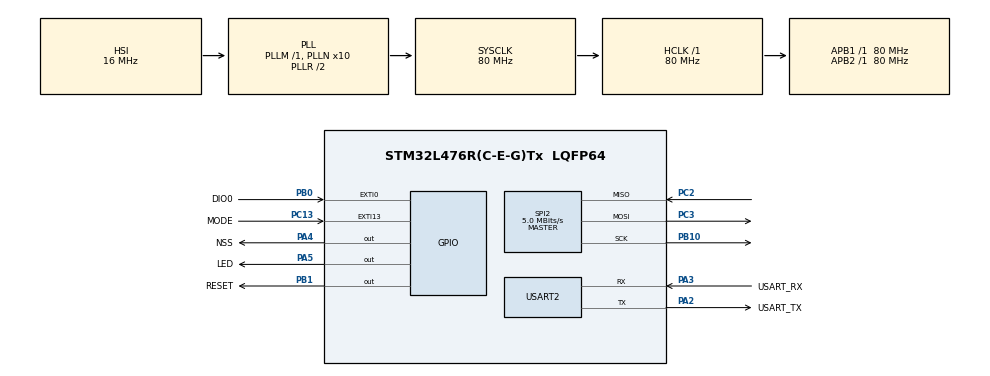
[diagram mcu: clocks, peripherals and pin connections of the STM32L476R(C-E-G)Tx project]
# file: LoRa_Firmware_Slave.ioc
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Mcu.Family=STM32L4
Mcu.Name=STM32L476R(C-E-G)Tx
Mcu.Package=LQFP64
NVIC.EXTI0_IRQn=true\:0\:0\:false\:false\:true\:true\:true
NVIC.EXTI15_10_IRQn=true\:0\:0\:false\:false\:true\:true\:true
NVIC.PriorityGroup=NVIC_PRIORITYGROUP_4
NVIC.RTC_WKUP_IRQn=true\:0\:0\:false\:false\:true\:true\:true
NVIC.TIM1_TRG_COM_TIM17_IRQn=true\:0\:0\:false\:false\:true\:true\:true
NVIC.TIM1_UP_TIM16_IRQn=true\:0\:0\:false\:false\:true\:true\:true
PA13\ (JTMS-SWDIO).GPIO_Label=TMS
PA13\ (JTMS-SWDIO).Mode=Trace_Asynchronous_SW
PA13\ (JTMS-SWDIO).Signal=SYS_JTMS-SWDIO
PA14\ (JTCK-SWCLK).GPIO_Label=TCK
PA14\ (JTCK-SWCLK).Mode=Trace_Asynchronous_SW
PA14\ (JTCK-SWCLK).Signal=SYS_JTCK-SWCLK
PA2.GPIO_Label=USART_TX
PA2.GPIO_Mode=GPIO_MODE_AF_PP
PA2.GPIO_PuPd=GPIO_NOPULL
PA2.GPIO_Speed=GPIO_SPEED_FREQ_VERY_HIGH
PA2.Mode=Asynchronous
PA2.Signal=USART2_TX
PA3.GPIO_Label=USART_RX
PA3.GPIO_Mode=GPIO_MODE_AF_PP
PA3.GPIO_PuPd=GPIO_NOPULL
PA3.GPIO_Speed=GPIO_SPEED_FREQ_VERY_HIGH
PA3.Mode=Asynchronous
PA3.Signal=USART2_RX
PA4.GPIO_Label=NSS
PA4.PinState=GPIO_PIN_SET
PA4.Signal=GPIO_Output
PA5.GPIO_Label=LED
PA5.GPIO_ModeDefaultOutputPP=GPIO_MODE_OUTPUT_PP
PA5.GPIO_PuPd=GPIO_NOPULL
PA5.GPIO_Speed=GPIO_SPEED_FREQ_LOW
PA5.Signal=GPIO_Output
PB0.GPIO_Label=DIO0
PB0.Signal=GPXTI0
PB1.GPIO_Label=RESET
PB1.PinState=GPIO_PIN_SET
PB1.Signal=GPIO_Output
PB10.Mode=Full_Duplex_Master
PB10.Signal=SPI2_SCK
PB3\ (JTDO-TRACESWO).GPIO_Label=SWO
PB3\ (JTDO-TRACESWO).Mode=Trace_Asynchronous_SW
PB3\ (JTDO-TRACESWO).Signal=SYS_JTDO-SWO
PC13.GPIO_Label=MODE
PC13.GPIO_ModeDefaultEXTI=GPIO_MODE_IT_FALLING
PC13.GPIO_PuPd=GPIO_NOPULL
PC13.Signal=GPXTI13
PC2.Mode=Full_Duplex_Master
PC2.Signal=SPI2_MISO
PC3.Mode=Full_Duplex_Master
PC3.Signal=SPI2_MOSI
ProjectManager.HeapSize=0x200
ProjectManager.StackSize=0x400
ProjectManager.TargetToolchain=STM32CubeIDE
RCC.ADCFreq_Value=64000000
RCC.AHBFreq_Value=80000000
RCC.APB1Freq_Value=80000000
RCC.APB1TimFreq_Value=80000000
RCC.APB2Freq_Value=80000000
RCC.APB2TimFreq_Value=80000000
RCC.CortexFreq_Value=80000000
RCC.HCLKFreq_Value=80000000
RCC.HSE_VALUE=8000000
RCC.HSI_VALUE=16000000
RCC.LSE_VALUE=32768
RCC.MSI_VALUE=4000000
RCC.PLLN=10
RCC.PLLSourceVirtual=RCC_PLLSOURCE_HSI
RCC.PREFETCH_ENABLE=1
RCC.SYSCLKFreq_VALUE=80000000
RCC.SYSCLKSource=RCC_SYSCLKSOURCE_PLLCLK
RCC.USBFreq_Value=64000000
RCC.VCOOutputFreq_Value=160000000
SPI2.BaudRatePrescaler=SPI_BAUDRATEPRESCALER_16
SPI2.CalculateBaudRate=5.0 MBits/s
SPI2.DataSize=SPI_DATASIZE_8BIT
SPI2.Direction=SPI_DIRECTION_2LINES
SPI2.Mode=SPI_MODE_MASTER
SPI2.VirtualType=VM_MASTER
TIM16.Period=60000-1
TIM16.Prescaler=8000-1
TIM17.Period=6000-1
TIM17.Prescaler=8000-1
USART2.VirtualMode-Asynchronous=VM_ASYNC
VP_RTC_VS_RTC_Activate.Mode=RTC_Enabled
VP_RTC_VS_RTC_Calendar.Mode=RTC_Calendar
VP_RTC_VS_RTC_WakeUp_intern.Mode=WakeUp
VP_TIM16_VS_ClockSourceINT.Mode=Enable_Timer
VP_TIM17_VS_ClockSourceINT.Mode=Enable_Timer
board=NUCLEO-L476RG

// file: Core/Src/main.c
/* USER CODE BEGIN Header */
/**
  ******************************************************************************
  * @file           : main.c
  * @brief          : Main program body
  ******************************************************************************
  * @attention
  *
  * <h2><center>&copy; Copyright (c) 2021 STMicroelectronics.
  * All rights reserved.</center></h2>
  *
  * This software component is licensed by ST under BSD 3-Clause license,
  * the "License"; You may not use this file except in compliance with the
  * License. You may obtain a copy of the License at:
  *                        opensource.org/licenses/BSD-3-Clause
  *
  ******************************************************************************
  */
/* USER CODE END Header */
#include "main.h"
#include "rtc.h"
#include "spi.h"
#include "tim.h"
#include "usart.h"
#include "gpio.h"

/* USER CODE BEGIN Includes */
#include "SX1278.h"
#include "SX1278_hw.h"
#include "string.h"
#include <stdio.h>
/* USER CODE END Includes */

/* USER CODE BEGIN PV */
SX1278_hw_t SX1278_hw;
SX1278_t SX1278;
SX1278_pack_t ack;
SX1278_pack_t packet_sent;
SX1278_pack_t previous_pack;
int ret;
int retry = 0;
char buffer[512];
int count = 0;
int message = 0;
int message_length;
int send_packets = 0;
char ackBuffer[512];
int state = 0;
int retack;
uint32_t time_val_pr = 0;
uint32_t time_val_nw = 0;
uint8_t comp=0;
int ack_retrying = 1;
/* USER CODE END PV */

void SystemClock_Config(void);
/* USER CODE BEGIN PFP */
int _write(int file, char *ptr, int len) {
	int i;
	HAL_UART_Transmit(&huart2, (uint8_t*) ptr, len, 50);
	for (i = 0; i < len; i++) {
		ITM_SendChar(*ptr++);
	}
	return len;
}
/* USER CODE END PFP */

int main(void)
{

  /* MCU Configuration--------------------------------------------------------*/

  /* Reset of all peripherals, Initializes the Flash interface and the Systick. */
  HAL_Init();

  /* Configure the system clock */
  SystemClock_Config();

  /* Initialize all configured peripherals */
  MX_GPIO_Init();
  MX_USART2_UART_Init();
  MX_RTC_Init();
  MX_SPI2_Init();
  MX_TIM16_Init();
  MX_TIM17_Init();
  /* USER CODE BEGIN 2 */
//initialize LoRa module
  SX1278_hw.dio0.port = DIO0_GPIO_Port;
  SX1278_hw.dio0.pin = DIO0_Pin;
  SX1278_hw.nss.port = NSS_GPIO_Port;
  SX1278_hw.nss.pin = NSS_Pin;
  SX1278_hw.reset.port = RESET_GPIO_Port;
  SX1278_hw.reset.pin = RESET_Pin;
  SX1278_hw.spi = &hspi2;

  SX1278.hw = &SX1278_hw;
  printf("Configuring LoRa module\r\n");
  //node addr is 1
  SX1278_init(&SX1278, 433000000, SX1278_POWER_17DBM,120, SX1278_LORA_SF_7,
		  SX1278_LORA_BW_250KHZ, SX1278_LORA_CR_4_5,1, SX1278_LORA_CRC_DIS, 10);
  printf("Done configuring LoRaModule\r\n");
  ret = SX1278_LoRaEntryTx(&SX1278, 255, 2000);

  /* USER CODE END 2 */

  /* Infinite loop */
  while (1)
  {
    /* USER CODE BEGIN 3 */
	  switch(state)
		  {
		  case 0:
			  packet_sent.packnum = message;
			  message_length = sprintf(buffer,"Hello D");
//			  HAL_Delay(1000);
			  ret = SX1278_LoRaEntryTx(&SX1278, 255, 2000);
			  ret = SX1278_LoRaTxPacket(&SX1278, &packet_sent, (uint8_t*)buffer, 255, 2000, 2);
			  if (ret == 1){
				  SX1278_copypacket(&previous_pack, &packet_sent);
				  HAL_GPIO_TogglePin(LED_GPIO_Port, LED_Pin);
				  state = 1 ; message++;
			  }
			  else state = 0;
			  break;

		  case 1:
			  //wait for ack
//			  HAL_Delay(200);
			  retack = SX1278_LoRaEntryRx(&SX1278, 255, 2000);
			  HAL_Delay(800);
			  retack = SX1278_LoRaRxPacketACK(&SX1278, &ack, &packet_sent);
			  comp = SX1278_Compare(&SX1278, &ack, &packet_sent);
			  if (retack > 0)state = 0;
			  else {
				  while(ack_retrying) {
					  HAL_TIM_Base_Start_IT(&htim16);
					  state = 1;
				  }
				  HAL_TIM_Base_Stop(&htim16);
				  state = 2;
				  ack_retrying = 1;
			  }
			  break;

		  case 2:

			  if (retry <= 3){
//				  message_length = sprintf(buffer,"Hello D");
//				  HAL_Delay(1000);
				  ret = SX1278_LoRaEntryTx(&SX1278, 255, 2000);
				  ret = SX1278_LoRaTxPacketRetry(&SX1278, &previous_pack, 2,2000);
				  if (ret == 1){
					  state = 1;retry ++;packet_sent.retry = retry;}
				  else state = 2;}
			  if (retry > 3){
				  state = 0;retry = 0;packet_sent.retry = retry;
			  }
		  }
  }
  /* USER CODE END 3 */
}

void SystemClock_Config(void)
{
  RCC_OscInitTypeDef RCC_OscInitStruct = {0};
  RCC_ClkInitTypeDef RCC_ClkInitStruct = {0};
  RCC_PeriphCLKInitTypeDef PeriphClkInit = {0};

  /** Initializes the RCC Oscillators according to the specified parameters
  * in the RCC_OscInitTypeDef structure.
  */
  RCC_OscInitStruct.OscillatorType = RCC_OSCILLATORTYPE_HSI|RCC_OSCILLATORTYPE_LSI;
  RCC_OscInitStruct.HSIState = RCC_HSI_ON;
  RCC_OscInitStruct.HSICalibrationValue = RCC_HSICALIBRATION_DEFAULT;
  RCC_OscInitStruct.LSIState = RCC_LSI_ON;
  RCC_OscInitStruct.PLL.PLLState = RCC_PLL_ON;
  RCC_OscInitStruct.PLL.PLLSource = RCC_PLLSOURCE_HSI;
  RCC_OscInitStruct.PLL.PLLM = 1;
  RCC_OscInitStruct.PLL.PLLN = 10;
  RCC_OscInitStruct.PLL.PLLP = RCC_PLLP_DIV7;
  RCC_OscInitStruct.PLL.PLLQ = RCC_PLLQ_DIV2;
  RCC_OscInitStruct.PLL.PLLR = RCC_PLLR_DIV2;
  if (HAL_RCC_OscConfig(&RCC_OscInitStruct) != HAL_OK)
  {
    Error_Handler();
  }
  /** Initializes the CPU, AHB and APB buses clocks
  */
  RCC_ClkInitStruct.ClockType = RCC_CLOCKTYPE_HCLK|RCC_CLOCKTYPE_SYSCLK
                              |RCC_CLOCKTYPE_PCLK1|RCC_CLOCKTYPE_PCLK2;
  RCC_ClkInitStruct.SYSCLKSource = RCC_SYSCLKSOURCE_PLLCLK;
  RCC_ClkInitStruct.AHBCLKDivider = RCC_SYSCLK_DIV1;
  RCC_ClkInitStruct.APB1CLKDivider = RCC_HCLK_DIV1;
  RCC_ClkInitStruct.APB2CLKDivider = RCC_HCLK_DIV1;

  if (HAL_RCC_ClockConfig(&RCC_ClkInitStruct, FLASH_LATENCY_4) != HAL_OK)
  {
    Error_Handler();
  }
  PeriphClkInit.PeriphClockSelection = RCC_PERIPHCLK_RTC|RCC_PERIPHCLK_USART2;
  PeriphClkInit.Usart2ClockSelection = RCC_USART2CLKSOURCE_PCLK1;
  PeriphClkInit.RTCClockSelection = RCC_RTCCLKSOURCE_LSI;
  if (HAL_RCCEx_PeriphCLKConfig(&PeriphClkInit) != HAL_OK)
  {
    Error_Handler();
  }
  /** Configure the main internal regulator output voltage
  */
  if (HAL_PWREx_ControlVoltageScaling(PWR_REGULATOR_VOLTAGE_SCALE1) != HAL_OK)
  {
    Error_Handler();
  }
}

/* USER CODE BEGIN 4 */
void HAL_TIM_PeriodElapsedCallback(TIM_HandleTypeDef *htim){
	if (htim == &htim16)
	{
		ack_retrying = 0;
	}
}
void HAL_GPIO_EXTI_Callback(uint16_t GPIO_Pin)
{
	if (GPIO_Pin == DIO0_Pin){

	printf("interrupt occured\r\n");
	}
}
/* USER CODE END 4 */

void Error_Handler(void)
{
  /* USER CODE BEGIN Error_Handler_Debug */
  /* User can add his own implementation to report the HAL error return state */
//  __disable_irq();
//  while (1)
//  {
//  }
  /* USER CODE END Error_Handler_Debug */
}

/************************ (C) COPYRIGHT STMicroelectronics *****END OF FILE****/
